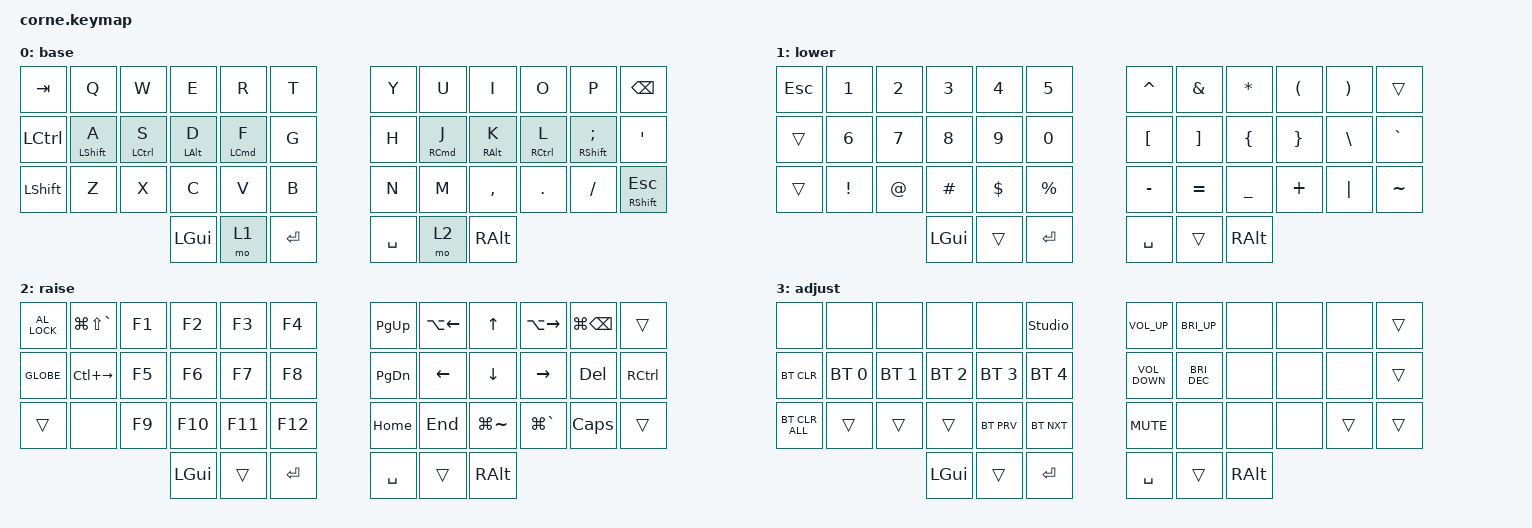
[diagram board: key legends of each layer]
/*
 * Copyright (c) 2020 The ZMK Contributors
 *
 * SPDX-License-Identifier: MIT
 */

#include <behaviors.dtsi>
#include <dt-bindings/zmk/bt.h>
#include <dt-bindings/zmk/keys.h>

/ {
    behaviors {
        hml: homewrow_mods_left {
            compatible = "zmk,behavior-hold-tap";
            label = "HOMEROW_MODS_LEFT_HAND";
            bindings = <&kp>, <&kp>;

            #binding-cells = <2>;
            tapping-term-ms = <280>;
            hold-trigger-key-positions = <20 6 7 8 9 10 11 18 19 20 21 22 23 30 31 32 33 34 35 39 40 41>;
            flavor = "tap-preferred";
            quick-tap-ms = <200>;
            hold-trigger-on-release;
            require-prior-idle-ms = <230>;
        };

        hmr: homewrow_mods_right {
            compatible = "zmk,behavior-hold-tap";
            label = "HOMEROW_MODS_RIGHT_HAND";
            bindings = <&kp>, <&kp>;

            #binding-cells = <2>;
            tapping-term-ms = <280>;
            hold-trigger-key-positions = <0 1 2 3 4 5 12 13 14 15 16 17 24 25 26 27 28 29 36 37 38>;
            quick-tap-ms = <200>;
            flavor = "tap-preferred";
            hold-trigger-on-release;
            require-prior-idle-ms = <230>;
        };
    };

    combos {
        compatible = "zmk,combos";

        ij_selected_task_run {
            bindings = <&kp LS(LC(F10))>;
            key-positions = <5 4>;
            layers = <0>;
            require-prior-idle-ms = <230>;
        };

        ij_last_run_task_run {
            bindings = <&kp LS(F10)>;
            key-positions = <17 16>;
            layers = <0>;
            require-prior-idle-ms = <230>;
        };

        ij_stop_running_task {
            bindings = <&kp LG(F2)>;
            key-positions = <2 3>;
            layers = <0>;
            require-prior-idle-ms = <230>;
        };

        ij_project_files {
            bindings = <&kp LG(NUMBER_1)>;
            key-positions = <30 31>;
            layers = <0>;
            require-prior-idle-ms = <230>;
        };

        ij_run_menu {
            bindings = <&kp LS(LA(F10))>;
            key-positions = <6 7>;
            layers = <0>;
            require-prior-idle-ms = <230>;
        };
    };

    keymap {
        compatible = "zmk,keymap";

        base {
            // -----------------------------------------------------------------------------------------
            // |  TAB |  Q  |  W  |  E  |  R  |  T  |   |  Y  |  U   |  I  |  O  |  P  | BSPC |
            // | CTRL |  A  |  S  |  D  |  F  |  G  |   |  H  |  J   |  K  |  L  |  ;  |  '   |
            // | SHFT |  Z  |  X  |  C  |  V  |  B  |   |  N  |  M   |  ,  |  .  |  /  | ESC  |
            //                    | GUI | LWR | ENT |   | SPC | RSE  | ALT |

            bindings = <
&kp TAB    &kp Q          &kp W         &kp E        &kp R        &kp T      &kp Y      &kp U        &kp I        &kp O         &kp P            &kp BSPC
&kp LCTRL  &hml LSHIFT A  &hml LCTRL S  &hml LALT D  &hml LCMD F  &kp G      &kp H      &hmr RCMD J  &hmr RALT K  &hmr RCTRL L  &hmr RSHFT SEMI  &kp SQT
&kp LSHFT  &kp Z          &kp X         &kp C        &kp V        &kp B      &kp N      &kp M        &kp COMMA    &kp DOT       &kp FSLH         &mt RIGHT_SHIFT ESCAPE
                                        &kp LGUI     &mo 1        &kp RET    &kp SPACE  &mo 2        &kp RALT
            >;
        };

        lower {
            // -----------------------------------------------------------------------------------------
            // |  TAB |  !  |  @  |  #  |  $  |  %  |   |  ^  |  &  |  *  |  (  |  )  | BSPC |
            // | CTRL |     |     |     |     |     |   |  -  |  =  |  [  |  ]  |  \  |  `   |
            // | SHFT |     |     |     |     |     |   |  _  |  +  |  {  |  }  | "|" |  ~   |
            //                    | GUI |     | ENT |   | SPC |     | ALT |

            bindings = <
&kp ESCAPE  &kp N1           &kp N2  &kp N3    &kp N4    &kp N5       &kp CARET  &kp AMPS   &kp ASTRK  &kp LPAR  &kp RPAR  &trans
&trans      &kp N6           &kp N7  &kp N8    &kp N9    &kp N0       &kp LBKT   &kp RBKT   &kp LBRC   &kp RBRC  &kp BSLH  &kp GRAVE
&trans      &kp EXCLAMATION  &kp AT  &kp HASH  &kp DLLR  &kp PRCNT    &kp MINUS  &kp EQUAL  &kp UNDER  &kp PLUS  &kp PIPE  &kp TILDE
                                     &kp LGUI  &trans    &kp RET      &kp SPACE  &trans     &kp RALT
            >;
        };

        raise {
            // -----------------------------------------------------------------------------------------
            // |  TAB |  1  |  2  |  3  |  4  |  5  |   |  6  |  7  |  8  |  9  |  0  | BSPC |
            // | BTCLR| BT1 | BT2 | BT3 | BT4 | BT5 |   |     |     |  UP |     |     |      |
            // | SHFT |     |     |     |     |     |   |     | LFT | DWN | RGT |     |      |
            //                    | GUI |     | ENT |   | SPC |     | ALT |

            bindings = <
&kp C_AL_LOCK  &kp LG(LS(GRAVE))  &kp F1  &kp F2    &kp F3   &kp F4     &kp PAGE_UP    &kp LA(LEFT_ARROW)  &kp UP_ARROW    &kp LA(RIGHT_ARROW)  &kp LG(BACKSPACE)  &trans
&kp GLOBE      &kp LC(RIGHT)      &kp F5  &kp F6    &kp F7   &kp F8     &kp PAGE_DOWN  &kp LEFT_ARROW      &kp DOWN_ARROW  &kp RIGHT_ARROW      &kp DELETE         &kp RCTRL
&trans         &none              &kp F9  &kp F10   &kp F11  &kp F12    &kp HOME       &kp END             &kp LG(TILDE)   &kp LG(GRAVE)        &kp CAPSLOCK       &trans
                                          &kp LGUI  &trans   &kp RET    &kp SPACE      &trans              &kp RALT
            >;
        };

        adjust {
            bindings = <
&none           &none         &none         &none         &none         &studio_unlock    &kp C_VOLUME_UP    &kp C_BRI_UP   &none     &none  &none   &trans
&bt BT_CLR      &bt BT_SEL 0  &bt BT_SEL 1  &bt BT_SEL 2  &bt BT_SEL 3  &bt BT_SEL 4      &kp C_VOLUME_DOWN  &kp C_BRI_DEC  &none     &none  &none   &trans
&bt BT_CLR_ALL  &trans        &trans        &trans        &bt BT_PRV    &bt BT_NXT        &kp C_MUTE         &none          &none     &none  &trans  &trans
                                            &kp LGUI      &trans        &kp RET           &kp SPACE          &trans         &kp RALT
            >;
        };
    };

    conditional_layers {
        compatible = "zmk,conditional-layers";

        adjust {
            if-layers = <1 2>;
            then-layer = <3>;
        };
    };
};
